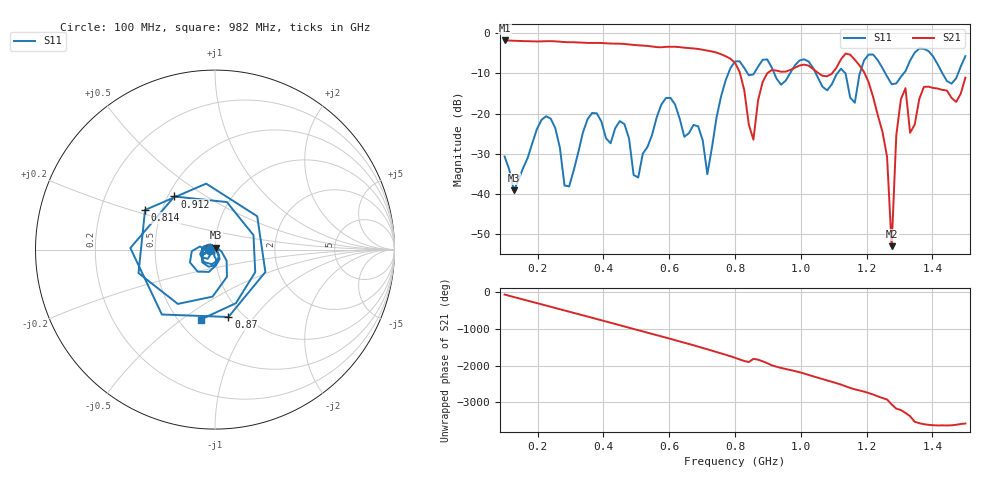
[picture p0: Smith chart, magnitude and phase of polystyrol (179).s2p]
! NanoVNA-App
! Date: 2025-09-25 15:31:17
! Start: 100MHz Stop: 1,5GHz Points: 101
! S-Parameter data: F S11 S21 S12 S22
# Hz S RI R 50
!  Frequency  S11_Real  S11_Imag  S21_Real  S21_Imag  S12_Real  S12_Imag  S22_Real  S22_Imag
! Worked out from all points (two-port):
!   101 points, 100 MHz to 1.5 GHz, reference 50 ohm
!   highest |S21| = -1.80 dB at 100 MHz (marker M1); lowest = -53.0 dB at 1.276 GHz (marker M2)
!   |S21| within 3 dB of the highest: start of sweep to 743.2 MHz
!   lowest |S11| = -39.1 dB at 128 MHz (marker M3), VSWR 1.02, Z = 50.3 + j1.06 ohm
!   |S11| at or under -10 dB: start of sweep to 779.8 MHz; 1.046 GHz to 1.111 GHz (65.28 MHz wide, 6.05 % of centre); 1.136 GHz to 1.179 GHz (43.64 MHz wide, 3.77 % of centre) (the widest 3 of 7)
!   S12 and S22 are empty: the file has one direction only
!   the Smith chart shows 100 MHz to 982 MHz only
!   S11 on the Smith chart (normalised r, x): 100 MHz: 0.94, -0.01; 814 MHz: 0.40, +0.22; 870 MHz: 0.86, -0.75; 912 MHz: 0.54, +0.37; 982 MHz: 0.64, -0.59
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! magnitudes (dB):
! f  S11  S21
! 100 MHz  -30.7  -1.8
! 128 MHz  -39.1  -1.9
! 212 MHz  -21.6  -2.0
! 282 MHz  -37.9  -2.2
! 338 MHz  -24.7  -2.3
! 506 MHz  -35.9  -3.0
! 576 MHz  -17.8  -3.5
! 716 MHz  -35.1  -4.3
! 800 MHz  -7.0  -7.4
! 814 MHz  -7.0  -9.6
! 856 MHz  -10.3  -26.5
! 870 MHz  -8.3  -16.7
! 912 MHz  -8.6  -9.2
! 982 MHz  -8.0  -8.6
! 1.038 GHz  -8.7  -9.0
! 1.206 GHz  -5.3  -12.2
! 1.262 GHz  -10.7  -30.8
! 1.276 GHz  -12.7  -53.0
! 1.29 GHz  -12.5  -25.5
! 1.318 GHz  -9.4  -13.7
! 1.332 GHz  -6.8  -24.8
! 1.5 GHz  -5.7  -11.0
